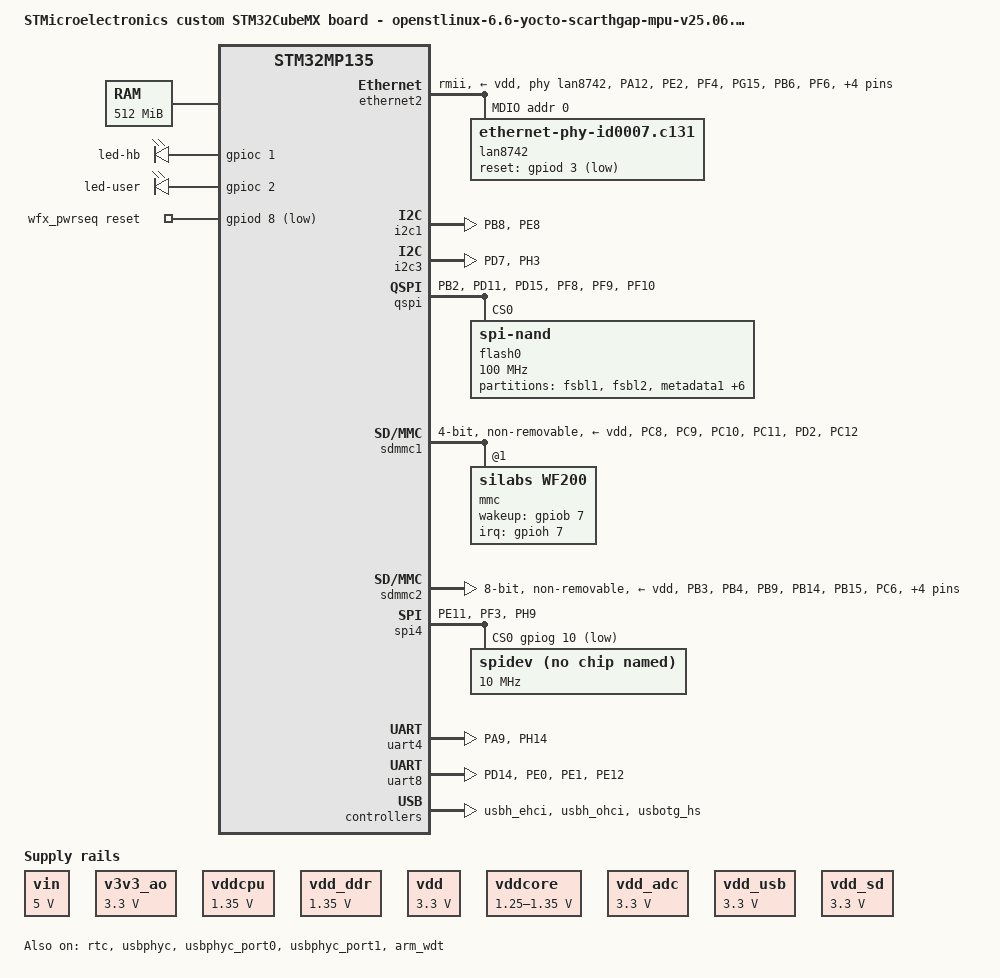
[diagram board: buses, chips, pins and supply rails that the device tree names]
// SPDX-License-Identifier: (GPL-2.0-or-later OR BSD-3-Clause)
/*
 * Copyright (C) 2026, STMicroelectronics - All Rights Reserved
 * Author: STM32CubeMX code generation for STMicroelectronics.
 */

/* For more information on Device Tree configuration, please refer to
 * https://wiki.st.com/stm32mpu/wiki/Category:Device_tree_configuration
 */

/dts-v1/;

#include <dt-bindings/pinctrl/stm32-pinfunc.h>
#include "stm32mp135.dtsi"
#include "stm32mp13xf.dtsi"

/* USER CODE BEGIN includes */
#include <dt-bindings/gpio/gpio.h>
#include <dt-bindings/input/input.h>
#include <dt-bindings/leds/common.h>
#include <dt-bindings/pwm/pwm.h>
#include <dt-bindings/rtc/rtc-stm32.h>
/* USER CODE END includes */

/ {
	model = "STMicroelectronics custom STM32CubeMX board - openstlinux-6.6-yocto-scarthgap-mpu-v25.06.11";
	compatible = "st,stm32mp135f-thingscore-1-mx", "st,stm32mp135";

	memory@c0000000 {
		device_type = "memory";
		reg = <0xc0000000 0x20000000>;

		/* USER CODE BEGIN memory */
		/* USER CODE END memory */
	};

	reserved-memory {
		#address-cells = <1>;
		#size-cells = <1>;
		ranges;

		/* USER CODE BEGIN reserved-memory */
		optee@de000000{
			reg = <0xde000000 0x2000000>;
			no-map;
		};
		/* USER CODE END reserved-memory */
	};

	/* USER CODE BEGIN root */
	aliases{
		serial0 = &uart4;
		ethernet0 = &ethernet2;
	};

	chosen{
		stdout-path = "serial0:115200n8";
	};
	
	leds{
		compatible = "gpio-leds";
		led-hb{
			function = LED_FUNCTION_HEARTBEAT;
			gpios = <&gpioc 1 GPIO_ACTIVE_HIGH>;
			linux,default-trigger = "heartbeat";
			default-state = "on";
		};

		led-user{
			function = LED_FUNCTION_HEARTBEAT;
			gpios = <&gpioc 2 GPIO_ACTIVE_HIGH>;
			default-state = "on";
		};
	};

	wfx_pwrseq: wfx_pwrseq {
		compatible = "mmc-pwrseq-simple";
		pinctrl-names = "default";
		reset-gpios = <&gpiod 8 GPIO_ACTIVE_LOW>;
	};

	sdmmc1_io: sdmmc1_io {
		compatible = "st,stm32mp13-iod";
		regulator-name = "sdmmc1_io";
		regulator-always-on;
	};

	sdmmc2_io: sdmmc2_io {
		compatible = "st,stm32mp13-iod";
		regulator-name = "sdmmc2_io";
		regulator-always-on;
	};

	vin: vin {
		compatible = "regulator-fixed";
		regulator-name = "vin";
		regulator-min-microvolt = <5000000>;
		regulator-max-microvolt = <5000000>;
		regulator-always-on;
	};

	v3v3_ao: v3v3_ao {
		compatible = "regulator-fixed";
		regulator-name = "v3v3_ao";
		regulator-min-microvolt = <3300000>;
		regulator-max-microvolt = <3300000>;
		regulator-always-on;
	};

	vddcpu: vddcpu {
		compatible = "regulator-fixed";
		regulator-name = "vddcpu";
		regulator-min-microvolt = <1350000>;
		regulator-max-microvolt = <1350000>;
		regulator-always-on;
	};

	vdd_ddr: vdd_ddr {
		compatible = "regulator-fixed";
		regulator-name = "vdd_ddr";
		regulator-min-microvolt = <1350000>;
		regulator-max-microvolt = <1350000>;
		regulator-always-on;
	};

	vdd: vdd {
		compatible = "regulator-fixed";
		regulator-name = "vdd";
		regulator-min-microvolt = <3300000>;
		regulator-max-microvolt = <3300000>;
		regulator-always-on;
	};

	vddcore: vddcore {
		compatible = "regulator-fixed";
		regulator-name = "vddcore";
		regulator-min-microvolt = <1250000>;
		regulator-max-microvolt = <1350000>;
		regulator-always-on;
	};

	vdd_adc: vdd_adc {
		compatible = "regulator-fixed";
		regulator-name = "vdd_adc";
		regulator-min-microvolt = <3300000>;
		regulator-max-microvolt = <3300000>;
		regulator-always-on;
	};

	vdd_usb: vdd_usb {
		compatible = "regulator-fixed";
		regulator-name = "vdd_usb";
		regulator-min-microvolt = <3300000>;
		regulator-max-microvolt = <3300000>;
		regulator-always-on;
	};
	vdd_sd: vdd_sd {
		compatible = "regulator-fixed";
		regulator-name = "vdd_sd";
		regulator-min-microvolt = <3300000>;
		regulator-max-microvolt = <3300000>;
		regulator-always-on;
	};
	/* USER CODE END root */

	clocks{

		/* USER CODE BEGIN clocks */
		/* USER CODE END clocks */
	};

}; /*root*/

&pinctrl {

	eth2_pins_mx: eth2_mx-0 {
		pins1 {
			pinmux = <STM32_PINMUX('A', 12, AF11)>, /* ETH2_CRS_DV */
					 <STM32_PINMUX('E', 2, AF10)>, /* ETH2_RXD1 */
					 <STM32_PINMUX('F', 4, AF11)>, /* ETH2_RXD0 */
					 <STM32_PINMUX('G', 15, AF10)>; /* ETH2_PHY_INTN */
			bias-disable;
		};
		pins2 {
			pinmux = <STM32_PINMUX('B', 6, AF11)>; /* ETH2_MDIO */
			bias-disable;
			drive-push-pull;
			slew-rate = <0>;
		};
		pins3 {
			pinmux = <STM32_PINMUX('F', 6, AF11)>, /* ETH2_TX_EN */
					 <STM32_PINMUX('F', 7, AF11)>, /* ETH2_TXD0 */
					 <STM32_PINMUX('G', 5, AF10)>, /* ETH2_MDC */
					 <STM32_PINMUX('G', 11, AF10)>, /* ETH2_TXD1 */
					 <STM32_PINMUX('H', 11, AF11)>; /* ETH2_REF_CLK */
			bias-disable;
			drive-push-pull;
			slew-rate = <1>;
		};
	};

	eth2_sleep_pins_mx: eth2_sleep_mx-0 {
		pins {
			pinmux = <STM32_PINMUX('A', 12, ANALOG)>, /* ETH2_CRS_DV */
					 <STM32_PINMUX('B', 6, ANALOG)>, /* ETH2_MDIO */
					 <STM32_PINMUX('E', 2, ANALOG)>, /* ETH2_RXD1 */
					 <STM32_PINMUX('F', 4, ANALOG)>, /* ETH2_RXD0 */
					 <STM32_PINMUX('F', 6, ANALOG)>, /* ETH2_TX_EN */
					 <STM32_PINMUX('F', 7, ANALOG)>, /* ETH2_TXD0 */
					 <STM32_PINMUX('G', 5, ANALOG)>, /* ETH2_MDC */
					 <STM32_PINMUX('G', 11, ANALOG)>, /* ETH2_TXD1 */
					 <STM32_PINMUX('G', 15, ANALOG)>, /* ETH2_PHY_INTN */
					 <STM32_PINMUX('H', 11, ANALOG)>; /* ETH2_REF_CLK */
		};
	};

	i2c1_pins_mx: i2c1_mx-0 {
		pins {
			pinmux = <STM32_PINMUX('B', 8, AF4)>, /* I2C1_SCL */
					 <STM32_PINMUX('E', 8, AF5)>; /* I2C1_SDA */
			bias-disable;
			drive-open-drain;
			slew-rate = <0>;
		};
	};

	i2c1_sleep_pins_mx: i2c1_sleep_mx-0 {
		pins {
			pinmux = <STM32_PINMUX('B', 8, ANALOG)>, /* I2C1_SCL */
					 <STM32_PINMUX('E', 8, ANALOG)>; /* I2C1_SDA */
		};
	};

	i2c3_pins_mx: i2c3_mx-0 {
		pins {
			pinmux = <STM32_PINMUX('D', 7, AF5)>, /* I2C3_SDA */
					 <STM32_PINMUX('H', 3, AF4)>; /* I2C3_SCL */
			bias-disable;
			drive-open-drain;
			slew-rate = <0>;
		};
	};

	i2c3_sleep_pins_mx: i2c3_sleep_mx-0 {
		pins {
			pinmux = <STM32_PINMUX('D', 7, ANALOG)>, /* I2C3_SDA */
					 <STM32_PINMUX('H', 3, ANALOG)>; /* I2C3_SCL */
		};
	};

	quadspi_pins_mx: quadspi_mx-0 {
		pins1 {
			pinmux = <STM32_PINMUX('B', 2, AF9)>, /* QUADSPI_BK1_NCS */
					 <STM32_PINMUX('D', 11, AF9)>, /* QUADSPI_BK1_IO2 */
					 <STM32_PINMUX('D', 15, AF9)>, /* QUADSPI_BK1_IO3 */
					 <STM32_PINMUX('F', 8, AF10)>, /* QUADSPI_BK1_IO0 */
					 <STM32_PINMUX('F', 9, AF10)>; /* QUADSPI_BK1_IO1 */
			bias-disable;
			drive-push-pull;
			slew-rate = <1>;
		};
		pins2 {
			pinmux = <STM32_PINMUX('F', 10, AF9)>; /* QUADSPI_CLK */
			bias-disable;
			drive-push-pull;
			slew-rate = <2>;
		};
	};

	quadspi_sleep_pins_mx: quadspi_sleep_mx-0 {
		pins {
			pinmux = <STM32_PINMUX('B', 2, ANALOG)>, /* QUADSPI_BK1_NCS */
					 <STM32_PINMUX('D', 11, ANALOG)>, /* QUADSPI_BK1_IO2 */
					 <STM32_PINMUX('D', 15, ANALOG)>, /* QUADSPI_BK1_IO3 */
					 <STM32_PINMUX('F', 8, ANALOG)>, /* QUADSPI_BK1_IO0 */
					 <STM32_PINMUX('F', 9, ANALOG)>, /* QUADSPI_BK1_IO1 */
					 <STM32_PINMUX('F', 10, ANALOG)>; /* QUADSPI_CLK */
		};
	};

	sdmmc1_pins_mx: sdmmc1_mx-0 {
		pins1 {
			pinmux = <STM32_PINMUX('C', 8, AF12)>, /* SDMMC1_D0 */
					 <STM32_PINMUX('C', 9, AF12)>, /* SDMMC1_D1 */
					 <STM32_PINMUX('C', 10, AF12)>, /* SDMMC1_D2 */
					 <STM32_PINMUX('C', 11, AF12)>, /* SDMMC1_D3 */
					 <STM32_PINMUX('D', 2, AF12)>; /* SDMMC1_CMD */
			bias-pull-up;
			drive-push-pull;
			slew-rate = <1>;
		};
		pins2 {
			pinmux = <STM32_PINMUX('C', 12, AF12)>; /* SDMMC1_CK */
			bias-pull-up;
			drive-push-pull;
			slew-rate = <3>;
		};
	};

	sdmmc1_opendrain_pins_mx: sdmmc1_opendrain_mx-0 {
		pins1 {
			pinmux = <STM32_PINMUX('C', 8, AF12)>, /* SDMMC1_D0 */
					 <STM32_PINMUX('C', 9, AF12)>, /* SDMMC1_D1 */
					 <STM32_PINMUX('C', 10, AF12)>, /* SDMMC1_D2 */
					 <STM32_PINMUX('C', 11, AF12)>; /* SDMMC1_D3 */
			bias-pull-up;
			drive-push-pull;
			slew-rate = <1>;
		};
		pins2 {
			pinmux = <STM32_PINMUX('C', 12, AF12)>; /* SDMMC1_CK */
			bias-pull-up;
			drive-push-pull;
			slew-rate = <3>;
		};
		pins3 {
			pinmux = <STM32_PINMUX('D', 2, AF12)>; /* SDMMC1_CMD */
			bias-pull-up;
			drive-open-drain;
			slew-rate = <1>;
		};
	};

	sdmmc1_sleep_pins_mx: sdmmc1_sleep_mx-0 {
		pins {
			pinmux = <STM32_PINMUX('C', 8, ANALOG)>, /* SDMMC1_D0 */
					 <STM32_PINMUX('C', 9, ANALOG)>, /* SDMMC1_D1 */
					 <STM32_PINMUX('C', 10, ANALOG)>, /* SDMMC1_D2 */
					 <STM32_PINMUX('C', 11, ANALOG)>, /* SDMMC1_D3 */
					 <STM32_PINMUX('C', 12, ANALOG)>, /* SDMMC1_CK */
					 <STM32_PINMUX('D', 2, ANALOG)>; /* SDMMC1_CMD */
		};
	};

	sdmmc2_pins_mx: sdmmc2_mx-0 {
		pins1 {
			pinmux = <STM32_PINMUX('B', 3, AF10)>, /* SDMMC2_D2 */
					 <STM32_PINMUX('B', 4, AF10)>, /* SDMMC2_D3 */
					 <STM32_PINMUX('B', 9, AF10)>, /* SDMMC2_D5 */
					 <STM32_PINMUX('B', 14, AF10)>, /* SDMMC2_D0 */
					 <STM32_PINMUX('B', 15, AF10)>, /* SDMMC2_D1 */
					 <STM32_PINMUX('C', 6, AF10)>, /* SDMMC2_D6 */
					 <STM32_PINMUX('C', 7, AF10)>, /* SDMMC2_D7 */
					 <STM32_PINMUX('F', 0, AF10)>, /* SDMMC2_D4 */
					 <STM32_PINMUX('G', 6, AF10)>; /* SDMMC2_CMD */
			bias-disable;
			drive-push-pull;
			slew-rate = <1>;
		};
		pins2 {
			pinmux = <STM32_PINMUX('E', 3, AF10)>; /* SDMMC2_CK */
			bias-disable;
			drive-push-pull;
			slew-rate = <3>;
		};
	};

	sdmmc2_opendrain_pins_mx: sdmmc2_opendrain_mx-0 {
		pins1 {
			pinmux = <STM32_PINMUX('B', 3, AF10)>, /* SDMMC2_D2 */
					 <STM32_PINMUX('B', 4, AF10)>, /* SDMMC2_D3 */
					 <STM32_PINMUX('B', 9, AF10)>, /* SDMMC2_D5 */
					 <STM32_PINMUX('B', 14, AF10)>, /* SDMMC2_D0 */
					 <STM32_PINMUX('B', 15, AF10)>, /* SDMMC2_D1 */
					 <STM32_PINMUX('C', 6, AF10)>, /* SDMMC2_D6 */
					 <STM32_PINMUX('C', 7, AF10)>, /* SDMMC2_D7 */
					 <STM32_PINMUX('F', 0, AF10)>; /* SDMMC2_D4 */
			bias-disable;
			drive-push-pull;
			slew-rate = <1>;
		};
		pins2 {
			pinmux = <STM32_PINMUX('E', 3, AF10)>; /* SDMMC2_CK */
			bias-disable;
			drive-push-pull;
			slew-rate = <3>;
		};
		pins3 {
			pinmux = <STM32_PINMUX('G', 6, AF10)>; /* SDMMC2_CMD */
			bias-disable;
			drive-open-drain;
			slew-rate = <1>;
		};
	};

	sdmmc2_sleep_pins_mx: sdmmc2_sleep_mx-0 {
		pins {
			pinmux = <STM32_PINMUX('B', 3, ANALOG)>, /* SDMMC2_D2 */
					 <STM32_PINMUX('B', 4, ANALOG)>, /* SDMMC2_D3 */
					 <STM32_PINMUX('B', 9, ANALOG)>, /* SDMMC2_D5 */
					 <STM32_PINMUX('B', 14, ANALOG)>, /* SDMMC2_D0 */
					 <STM32_PINMUX('B', 15, ANALOG)>, /* SDMMC2_D1 */
					 <STM32_PINMUX('C', 6, ANALOG)>, /* SDMMC2_D6 */
					 <STM32_PINMUX('C', 7, ANALOG)>, /* SDMMC2_D7 */
					 <STM32_PINMUX('E', 3, ANALOG)>, /* SDMMC2_CK */
					 <STM32_PINMUX('F', 0, ANALOG)>, /* SDMMC2_D4 */
					 <STM32_PINMUX('G', 6, ANALOG)>; /* SDMMC2_CMD */
		};
	};

	spi4_pins_mx: spi4_mx-0 {
		pins {
			pinmux = <STM32_PINMUX('E', 11, AF5)>, /* SPI4_MOSI */
					 <STM32_PINMUX('F', 3, AF5)>, /* SPI4_MISO */
					 <STM32_PINMUX('H', 9, AF5)>; /* SPI4_SCK */
			bias-disable;
			drive-push-pull;
			slew-rate = <1>;
		};
	};

	spi4_sleep_pins_mx: spi4_sleep_mx-0 {
		pins {
			pinmux = <STM32_PINMUX('E', 11, ANALOG)>, /* SPI4_MOSI */
					 <STM32_PINMUX('F', 3, ANALOG)>, /* SPI4_MISO */
					 <STM32_PINMUX('H', 9, ANALOG)>; /* SPI4_SCK */
		};
	};

	uart4_pins_mx: uart4_mx-0 {
		pins1 {
			pinmux = <STM32_PINMUX('A', 9, AF8)>; /* UART4_TX */
			bias-disable;
			drive-push-pull;
			slew-rate = <0>;
		};
		pins2 {
			pinmux = <STM32_PINMUX('H', 14, AF8)>; /* UART4_RX */
			bias-disable;
		};
	};

	uart4_idle_pins_mx: uart4_idle_mx-0 {
		pins1 {
			pinmux = <STM32_PINMUX('A', 9, AF8)>; /* UART4_TX */
			bias-disable;
			drive-push-pull;
			slew-rate = <0>;
		};
		pins2 {
			pinmux = <STM32_PINMUX('H', 14, AF8)>; /* UART4_RX */
			bias-disable;
		};
	};

	uart4_sleep_pins_mx: uart4_sleep_mx-0 {
		pins {
			pinmux = <STM32_PINMUX('A', 9, ANALOG)>, /* UART4_TX */
					 <STM32_PINMUX('H', 14, ANALOG)>; /* UART4_RX */
		};
	};

	uart8_pins_mx: uart8_mx-0 {
		pins1 {
			pinmux = <STM32_PINMUX('D', 14, AF8)>, /* UART8_CTS */
					 <STM32_PINMUX('E', 0, AF8)>; /* UART8_RX */
			bias-disable;
		};
		pins2 {
			pinmux = <STM32_PINMUX('E', 1, AF8)>, /* UART8_TX */
					 <STM32_PINMUX('E', 12, AF8)>; /* UART8_RTS */
			bias-disable;
			drive-push-pull;
			slew-rate = <0>;
		};
	};

	uart8_idle_pins_mx: uart8_idle_mx-0 {
		pins1 {
			pinmux = <STM32_PINMUX('D', 14, AF8)>, /* UART8_CTS */
					 <STM32_PINMUX('E', 0, AF8)>; /* UART8_RX */
			bias-disable;
		};
		pins2 {
			pinmux = <STM32_PINMUX('E', 1, AF8)>, /* UART8_TX */
					 <STM32_PINMUX('E', 12, AF8)>; /* UART8_RTS */
			bias-disable;
			drive-push-pull;
			slew-rate = <0>;
		};
	};

	uart8_sleep_pins_mx: uart8_sleep_mx-0 {
		pins {
			pinmux = <STM32_PINMUX('D', 14, ANALOG)>, /* UART8_CTS */
					 <STM32_PINMUX('E', 0, ANALOG)>, /* UART8_RX */
					 <STM32_PINMUX('E', 1, ANALOG)>, /* UART8_TX */
					 <STM32_PINMUX('E', 12, ANALOG)>; /* UART8_RTS */
		};
	};

	/* USER CODE BEGIN pinctrl */
	/* USER CODE END pinctrl */
};

&dma1 {
	status = "okay";

	/* USER CODE BEGIN dma1 */
	/* USER CODE END dma1 */
};

&dmamux1 {
	status = "okay";

	dma-masters = <&dma1>;
	dma-channels = <8>;

	/* USER CODE BEGIN dmamux1 */
	/* USER CODE END dmamux1 */
};

&ethernet2 {
	pinctrl-names = "default", "sleep";
	pinctrl-0 = <&eth2_pins_mx>;
	pinctrl-1 = <&eth2_sleep_pins_mx>;
	status = "okay";

	/* USER CODE BEGIN ethernet2 */
	phy-mode = "rmii";
	max-speed = <100>;
	phy-handle = <&lan8742>;
	phy-supply = <&vdd>;
	nvmem-cells = <&ethernet_mac2_address>;
	nvmem-cell-names = "mac-address";
	
	/* For end application handle mac address provisioning */
	mac-address = [00 11 22 33 44 55];
	
	mdio0 {
		#address-cells = <1>;
		#size-cells = <0>;
		compatible = "snps,dwmac-mdio";

		lan8742:ethernet-phy@0{
			compatible = "ethernet-phy-id0007.c131";
			reset-gpios = <&gpiod 3 GPIO_ACTIVE_LOW>;
			reset-assert-us = <1000>;
			reset-deassert-us = <30000>;
			reg = <0>;
		};
	};
	/* USER CODE END ethernet2 */
};

&i2c1 {
	pinctrl-names = "default", "sleep";
	pinctrl-0 = <&i2c1_pins_mx>;
	pinctrl-1 = <&i2c1_sleep_pins_mx>;
	status = "okay";

	/* USER CODE BEGIN i2c1 */
	/* USER CODE END i2c1 */
};

&i2c3 {
	pinctrl-names = "default", "sleep";
	pinctrl-0 = <&i2c3_pins_mx>;
	pinctrl-1 = <&i2c3_sleep_pins_mx>;
	status = "okay";

	/* USER CODE BEGIN i2c3 */
	/* USER CODE END i2c3 */
};

&mdma {
	status = "okay";

	/* USER CODE BEGIN mdma */
	/* USER CODE END mdma */
};

&qspi {
	pinctrl-names = "default", "sleep";
	pinctrl-0 = <&quadspi_pins_mx>;
	pinctrl-1 = <&quadspi_sleep_pins_mx>;
	status = "okay";

	/* USER CODE BEGIN qspi */
	#address-cells = <1>;
	#size-cells = <0>;

	flash0: flash@0 {
		compatible = "spi-nand";
		spi-rx-bus-width = <4>;
		spi-tx-bus-width = <4>;
		spi-max-frequency = <100000000>;
		#address-cells = <1>;
		#size-cells = <1>;
		reg = <0x0>;

		partitions {
			compatible = "fixed-partitions";
			#address-cells = <1>;
			#size-cells = <1>;

			partition@0 {
				label = "fsbl1";
				reg = <0x00000000 0x00080000>; /* 512KB */
			};

			partition@80000 {
				label = "fsbl2";
				reg = <0x00080000 0x00080000>; /* 512KB */
			};

			partition@100000 {
				label = "metadata1";
				reg = <0x00100000 0x00080000>; /* 512KB */
			};

			partition@180000 {
				label = "metadata2";
				reg = <0x00180000 0x00080000>; /* 512KB */
			};

			partition@200000 {
				label = "fip-a1";
				reg = <0x00200000 0x00400000>; /* 4MB */
			};

			partition@600000 {
				label = "fip-a2";
				reg = <0x00600000 0x00400000>; /* 4MB */
			};

			partition@a00000 {
				label = "fip-b1";
				reg = <0x00a00000 0x00400000>; /* 4MB */
			};

			partition@e00000 {
				label = "fip-b2";
				reg = <0x00e00000 0x00400000>; /* 4MB */
			};

			partition@1200000 {
				label = "UBI";
				reg = <0x01200000 0x06e00000>; /* Rest of 128MB chip */
			};
		};
	};
	/* USER CODE END qspi */
};

&rcc {
	status = "okay";

	/* USER CODE BEGIN rcc */
	/* USER CODE END rcc */
};

&rtc {
	status = "okay";

	/* USER CODE BEGIN rtc */
	/* USER CODE END rtc */
};

&sdmmc1 {
	pinctrl-names = "default", "opendrain", "sleep";
	pinctrl-0 = <&sdmmc1_pins_mx>;
	pinctrl-1 = <&sdmmc1_opendrain_pins_mx>;
	pinctrl-2 = <&sdmmc1_sleep_pins_mx>;
	status = "okay";

	/* USER CODE BEGIN sdmmc1 */
	#address-cells = <1>;
	#size-cells = <0>;
	non-removable;
	no-sd;
	bus-width = <4>;
	vmmc-supply = <&vdd>;                  
	mmc-pwrseq = <&wfx_pwrseq>;
	
	mmc@1 {
		compatible = "silabs,wf200";
		pinctrl-names = "default";
		interrupts-extended = <&gpioh 7 IRQ_TYPE_EDGE_RISING>;
		wakeup-gpios = <&gpiob 7 GPIO_ACTIVE_HIGH>;
		reg = <1>;
	};
	/* USER CODE END sdmmc1 */
};

&sdmmc2 {
	pinctrl-names = "default", "opendrain", "sleep";
	pinctrl-0 = <&sdmmc2_pins_mx>;
	pinctrl-1 = <&sdmmc2_opendrain_pins_mx>;
	pinctrl-2 = <&sdmmc2_sleep_pins_mx>;
	status = "okay";

	/* USER CODE BEGIN sdmmc2 */
	non-removable;                                       
	no-sd;                                               
	no-sdio;                                              
	st,neg-edge;                                           
	bus-width = <8>;                                    
	vmmc-supply = <&vdd>;                      
	vqmmc-supply = <&vdd>; 
	/* USER CODE END sdmmc2 */
};

&spi4 {
	pinctrl-names = "default", "sleep";
	pinctrl-0 = <&spi4_pins_mx>;
	pinctrl-1 = <&spi4_sleep_pins_mx>;
	status = "okay";

	/* USER CODE BEGIN spi4 */
	cs-gpios = <&gpiog 10 GPIO_ACTIVE_LOW>;

    spidev@0 {
		compatible = "rohm,dh2228fv";
		reg = <0>;
		spi-max-frequency = <10000000>;
    };
	/* USER CODE END spi4 */
};

&uart4 {
	pinctrl-names = "default", "idle", "sleep";
	pinctrl-0 = <&uart4_pins_mx>;
	pinctrl-1 = <&uart4_idle_pins_mx>;
	pinctrl-2 = <&uart4_sleep_pins_mx>;
	status = "okay";

	/* USER CODE BEGIN uart4 */
	/delete-property/ dmas;
	/delete-property/ dma-names;
	/* USER CODE END uart4 */
};

&uart8 {
	pinctrl-names = "default", "idle", "sleep";
	pinctrl-0 = <&uart8_pins_mx>;
	pinctrl-1 = <&uart8_idle_pins_mx>;
	pinctrl-2 = <&uart8_sleep_pins_mx>;
	status = "okay";

	/* USER CODE BEGIN uart8 */
	/* USER CODE END uart8 */
};

&usbh_ehci {
	status = "okay";

	/* USER CODE BEGIN usbh_ehci */
	/* USER CODE END usbh_ehci */
};

&usbh_ohci {
	status = "okay";

	/* USER CODE BEGIN usbh_ohci */
	/* USER CODE END usbh_ohci */
};

&usbotg_hs {
	status = "okay";

	/* USER CODE BEGIN usbotg_hs */
	/* USER CODE END usbotg_hs */
};

&usbphyc {
	status = "okay";

	/* USER CODE BEGIN usbphyc */
	/* USER CODE END usbphyc */
};

&usbphyc_port0 {
	status = "okay";

	/* USER CODE BEGIN usbphyc_port0 */
	phy-supply = <&scmi_vdd_usb>;
	st,current-boost-microamp = <1000>;
	st,decrease-hs-slew-rate;
	st,tune-hs-dc-level = <2>;
	st,enable-hs-rftime-reduction;
	st,trim-hs-current = <11>;
	st,trim-hs-impedance = <2>;
	st,tune-squelch-level = <1>;
	st,enable-hs-rx-gain-eq;
	st,no-hs-ftime-ctrl;
	st,no-lsfs-sc;
	/* USER CODE END usbphyc_port0 */
};

&usbphyc_port1 {
	status = "okay";

	/* USER CODE BEGIN usbphyc_port1 */
	phy-supply = <&scmi_vdd_usb>;
	st,current-boost-microamp = <1000>;
	st,decrease-hs-slew-rate;
	st,tune-hs-dc-level = <2>;
	st,enable-hs-rftime-reduction;
	st,trim-hs-current = <11>;
	st,trim-hs-impedance = <2>;
	st,tune-squelch-level = <1>;
	st,enable-hs-rx-gain-eq;
	st,no-hs-ftime-ctrl;
	st,no-lsfs-sc;
	/* USER CODE END usbphyc_port1 */
};

/* USER CODE BEGIN addons */
&arm_wdt {
	timeout-sec = <32>;
	status = "okay";
};

&scmi_regu {
	scmi_vddcpu: voltd-vddcpu {
		reg = <VOLTD_SCMI_STPMIC1_BUCK1>;
		voltd-supply = <&vddcpu>;
	};
	
	scmi_vdd: voltd-vdd {
		reg = <VOLTD_SCMI_STPMIC1_BUCK3>;
		voltd-supply = <&vdd>;
	};

	scmi_vddcore: voltd-vddcore {
		reg = <VOLTD_SCMI_STPMIC1_BUCK4>;
		voltd-supply = <&vddcore>;
	};

	scmi_vdd_adc: voltd-vdd_adc {
		reg = <VOLTD_SCMI_STPMIC1_LDO1>;
		voltd-supply = <&vdd_adc>;
	};

	scmi_vdd_usb: voltd-vdd_usb {
		reg = <VOLTD_SCMI_STPMIC1_LDO4>;
		voltd-supply = <&vdd_usb>;
	};

	scmi_vdd_sd: voltd-vdd_sd {
		reg = <VOLTD_SCMI_STPMIC1_LDO5>;
		voltd-supply = <&vdd_sd>;
	};
};

&pinctrl{
	wfx_wakeup: wfx_wakeup {
		pins {
			pinmux = <STM32_PINMUX('B', 7, GPIO)>;
			bias-pull-up;
		};
	};
	
	wfx_reset: wfx_reset {
		pins {
			pinmux = <STM32_PINMUX('D', 8, GPIO)>;
			bias-disable;
		};
	};
	wfx_irq: wfx_irq {
		pins {
			pinmux = <STM32_PINMUX('H', 7, GPIO)>;
			bias-pull-down;
		};
	};
};

/* USER CODE END addons */

